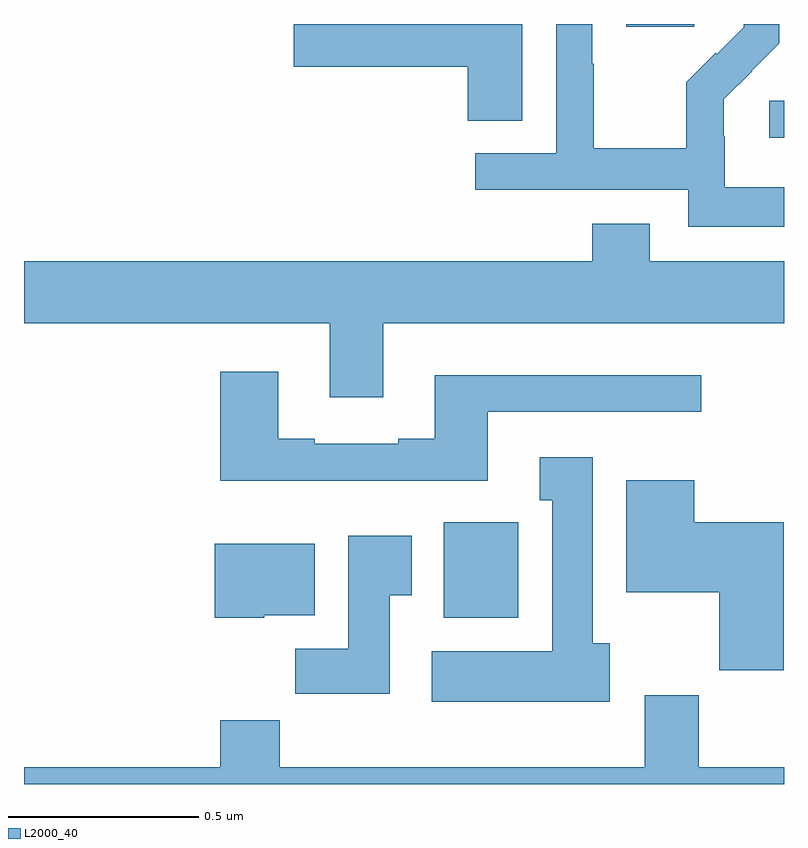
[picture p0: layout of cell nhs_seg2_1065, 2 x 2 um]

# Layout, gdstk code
import gdstk
lib = gdstk.Library(unit=1e-6, precision=1e-09)
def R(c, l, rs):  # rectangles x0, y0, x1, y1
    for r in rs: c.add(gdstk.rectangle(r[:2], r[2:], *l))
def P(c, l, *ps):  # polygons
    for p in ps: c.add(gdstk.Polygon(p, *l))
L2000_40 = (2000, 40)

nhs_seg2_1065 = lib.new_cell('nhs_seg2_1065')
R(nhs_seg2_1065, L2000_40, [(125.105,604.238,125.301,604.489), (125.961,605.501,126,605.598), (125.585,605.793,125.764,605.8)])
P(nhs_seg2_1065, L2000_40, [(126,605.371),(125.844,605.371),(125.844,605.505),(125.842,605.505),(125.842,605.602),(125.916,605.676),(125.915,605.677),(125.988,605.75),(125.988,605.8),(125.894,605.8),(125.894,605.792),(125.823,605.721),(125.82,605.724),(125.743,605.647),(125.743,605.473),(125.499,605.473),(125.499,605.696),(125.496,605.696),(125.496,605.8),(125.4,605.8),(125.4,605.46),(125.187,605.46),(125.187,605.364),(125.748,605.364),(125.748,605.267),(126,605.267)],
  [(125.311,605.8),(124.71,605.8),(124.71,605.687),(125.168,605.687),(125.168,605.545),(125.311,605.545)],
  [(124.945,605.012),(126,605.012),(126,605.176),(125.647,605.176),(125.647,605.275),(125.495,605.275),(125.495,605.176),(124,605.176),(124,605.012),(124.805,605.012),(124.805,604.818),(124.945,604.818)],
  [(125.221,604.779),(125.782,604.779),(125.782,604.876),(125.081,604.876),(125.081,604.708),(124.985,604.708),(124.985,604.695),(124.765,604.695),(124.765,604.708),(124.669,604.708),(124.669,604.885),(124.517,604.885),(124.517,604.598),(125.221,604.598)],
  [(125.542,604.17),(125.497,604.17),(125.497,604.66),(125.357,604.66),(125.357,604.547),(125.39,604.547),(125.39,604.15),(125.073,604.15),(125.073,604.016),(125.542,604.016)],
  [(125.999,604.489),(125.764,604.489),(125.764,604.6),(125.585,604.6),(125.585,604.304),(125.83,604.304),(125.83,604.099),(125.999,604.099)],
  [(124.963,604.297),(125.02,604.297),(125.02,604.453),(124.853,604.453),(124.853,604.156),(124.714,604.156),(124.714,604.038),(124.963,604.038)],
  [(124.632,604.244),(124.765,604.244),(124.765,604.432),(124.502,604.432),(124.502,604.238),(124.632,604.238)],
  [(126,603.844),(125.776,603.844),(125.776,604.034),(125.633,604.034),(125.633,603.844),(124.673,603.844),(124.673,603.968),(124.517,603.968),(124.517,603.844),(124,603.844),(124,603.8),(126,603.8)])

lib.write_gds('nhs_seg2_1065.gds')
